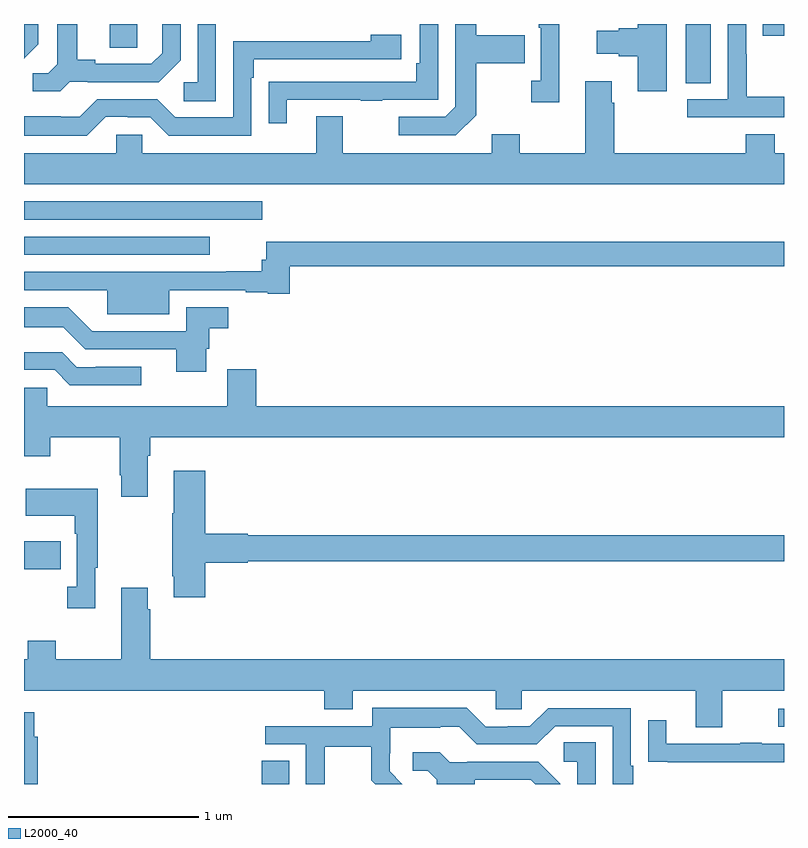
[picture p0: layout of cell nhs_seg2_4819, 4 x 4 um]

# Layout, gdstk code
import gdstk
lib = gdstk.Library(unit=1e-6, precision=1e-09)
def R(c, l, rs):  # rectangles x0, y0, x1, y1
    for r in rs: c.add(gdstk.rectangle(r[:2], r[2:], *l))
def P(c, l, *ps):  # polygons
    for p in ps: c.add(gdstk.Polygon(p, *l))
L2000_40 = (2000, 40)

nhs_seg2_4819 = lib.new_cell('nhs_seg2_4819')
R(nhs_seg2_4819, L2000_40, [(374.252,657.8,374.395,657.923), (376.971,658.101,377,658.197), (373,658.93,373.193,659.077), (373,660.585,373.978,660.681), (373,660.771,374.254,660.867), (376.484,661.489,376.615,661.8), (373.451,661.675,373.596,661.8), (376.889,661.737,377,661.8)])
P(nhs_seg2_4819, L2000_40, [(376.384,661.8),(376.229,661.8),(376.229,661.778),(376.13,661.778),(376.13,661.765),(376.014,661.765),(376.014,661.643),(376.13,661.643),(376.13,661.631),(376.229,661.631),(376.229,661.446),(376.384,661.446)],
  [(375.818,661.8),(375.708,661.8),(375.708,661.781),(375.72,661.781),(375.72,661.502),(375.669,661.502),(375.669,661.389),(375.818,661.389)],
  [(374.01,661.8),(373.914,661.8),(373.914,661.494),(373.842,661.494),(373.842,661.393),(374.01,661.393)],
  [(375.379,661.321),(375.379,661.594),(375.635,661.594),(375.635,661.741),(375.379,661.741),(375.379,661.8),(375.27,661.8),(375.27,661.365),(375.216,661.311),(374.973,661.311),(374.973,661.215),(375.273,661.215)],
  [(373.002,661.62),(373.001,661.621),(373.074,661.694),(373.074,661.8),(373,661.8),(373,661.618)],
  [(377,661.417),(376.803,661.417),(376.803,661.64),(376.8,661.64),(376.8,661.8),(376.704,661.8),(376.704,661.404),(376.491,661.404),(376.491,661.308),(377,661.308)],
  [(374.383,661.401),(374.773,661.401),(374.773,661.396),(374.885,661.396),(374.885,661.401),(375.18,661.401),(375.18,661.8),(375.084,661.8),(375.084,661.594),(375.064,661.594),(375.064,661.497),(374.389,661.497),(374.389,661.496),(374.287,661.496),(374.287,661.278),(374.383,661.278)],
  [(373.242,661.497),(373.336,661.497),(373.336,661.494),(373.708,661.494),(373.824,661.61),(373.824,661.8),(373.727,661.8),(373.727,661.647),(373.67,661.59),(373.375,661.59),(373.375,661.613),(373.279,661.613),(373.279,661.8),(373.175,661.8),(373.175,661.589),(373.128,661.542),(373.047,661.542),(373.047,661.445),(373.19,661.445)],
  [(373.431,661.311),(373.547,661.311),(373.547,661.308),(373.665,661.308),(373.761,661.212),(374.196,661.212),(374.196,661.517),(374.209,661.517),(374.209,661.614),(374.986,661.614),(374.986,661.744),(374.825,661.744),(374.825,661.71),(374.1,661.71),(374.1,661.308),(373.797,661.308),(373.701,661.404),(373.386,661.404),(373.293,661.311),(373.193,661.311),(373.193,661.315),(373,661.315),(373,661.211),(373.331,661.211)],
  [(377,661.12),(376.951,661.12),(376.951,661.219),(376.799,661.219),(376.799,661.12),(376.106,661.12),(376.106,661.385),(376.093,661.385),(376.093,661.498),(375.953,661.498),(375.953,661.12),(375.609,661.12),(375.609,661.219),(375.461,661.219),(375.461,661.12),(374.677,661.12),(374.677,661.315),(374.537,661.315),(374.537,661.12),(373.623,661.12),(373.623,661.218),(373.485,661.218),(373.485,661.12),(373,661.12),(373,660.956),(377,660.956)],
  [(373.765,660.399),(374.168,660.399),(374.168,660.387),(374.282,660.387),(374.282,660.379),(374.399,660.379),(374.399,660.526),(377,660.526),(377,660.655),(374.276,660.655),(374.276,660.558),(374.252,660.558),(374.252,660.5),(374.065,660.5),(374.065,660.495),(373,660.495),(373,660.399),(373.439,660.399),(373.439,660.272),(373.765,660.272)],
  [(373.96,660.09),(373.975,660.09),(373.975,660.2),(374.074,660.2),(374.074,660.31),(373.853,660.31),(373.853,660.183),(373.359,660.183),(373.232,660.31),(373,660.31),(373,660.204),(373.206,660.204),(373.323,660.087),(373.802,660.087),(373.802,659.97),(373.96,659.97)],
  [(373.618,659.997),(373.378,659.997),(373.378,659.994),(373.278,659.994),(373.2,660.072),(373,660.072),(373,659.979),(373.161,659.979),(373.24,659.9),(373.618,659.9)],
  [(377,659.788),(374.222,659.788),(374.222,659.983),(374.069,659.983),(374.069,659.788),(373.122,659.788),(373.122,659.886),(373,659.886),(373,659.525),(373.137,659.525),(373.137,659.624),(373.504,659.624),(373.504,659.425),(373.511,659.425),(373.511,659.313),(373.651,659.313),(373.651,659.528),(373.664,659.528),(373.664,659.624),(377,659.624)],
  [(373.955,658.964),(374.178,658.964),(374.178,658.972),(377,658.972),(377,659.108),(374.178,659.108),(374.178,659.116),(373.955,659.116),(373.955,659.449),(373.787,659.449),(373.787,659.225),(373.78,659.225),(373.78,658.894),(373.787,658.894),(373.787,658.782),(373.955,658.782)],
  [(373.375,658.937),(373.387,658.937),(373.387,659.353),(373.009,659.353),(373.009,659.213),(373.266,659.213),(373.266,659.117),(373.278,659.117),(373.278,658.838),(373.227,658.838),(373.227,658.725),(373.375,658.725)],
  [(376.675,658.292),(377,658.292),(377,658.456),(373.664,658.456),(373.664,658.721),(373.651,658.721),(373.651,658.834),(373.511,658.834),(373.511,658.456),(373.167,658.456),(373.167,658.555),(373.019,658.555),(373.019,658.456),(373,658.456),(373,658.292),(374.579,658.292),(374.579,658.193),(374.731,658.193),(374.731,658.292),(375.483,658.292),(375.483,658.194),(375.621,658.194),(375.621,658.292),(376.535,658.292),(376.535,658.098),(376.675,658.098)],
  [(374.583,657.996),(374.827,657.996),(374.827,657.821),(374.848,657.8),(374.992,657.8),(374.926,657.866),(374.926,657.963),(374.928,657.963),(374.928,658.097),(375.191,658.097),(375.191,658.101),(375.291,658.101),(375.384,658.008),(375.699,658.008),(375.795,658.104),(376.098,658.104),(376.098,657.8),(376.207,657.8),(376.207,657.895),(376.194,657.895),(376.194,658.2),(375.759,658.2),(375.663,658.104),(375.545,658.104),(375.545,658.101),(375.429,658.101),(375.329,658.201),(374.832,658.201),(374.832,658.104),(374.271,658.104),(374.271,658.008),(374.484,658.008),(374.484,657.8),(374.583,657.8)],
  [(373.072,658.05),(373.054,658.05),(373.054,658.177),(373,658.177),(373,657.8),(373.072,657.8)],
  [(377,658.011),(376.883,658.011),(376.883,658.016),(376.771,658.016),(376.771,658.011),(376.381,658.011),(376.381,658.135),(376.285,658.135),(376.285,657.916),(376.387,657.916),(376.387,657.915),(377,657.915)],
  [(376.008,658.019),(375.84,658.019),(375.84,657.918),(375.912,657.918),(375.912,657.8),(376.008,657.8)],
  [(375.373,657.822),(375.668,657.822),(375.69,657.8),(375.822,657.8),(375.822,657.802),(375.706,657.918),(375.334,657.918),(375.334,657.915),(375.24,657.915),(375.188,657.967),(375.045,657.967),(375.045,657.87),(375.126,657.87),(375.173,657.823),(375.173,657.8),(375.373,657.8)])

lib.write_gds('nhs_seg2_4819.gds')
